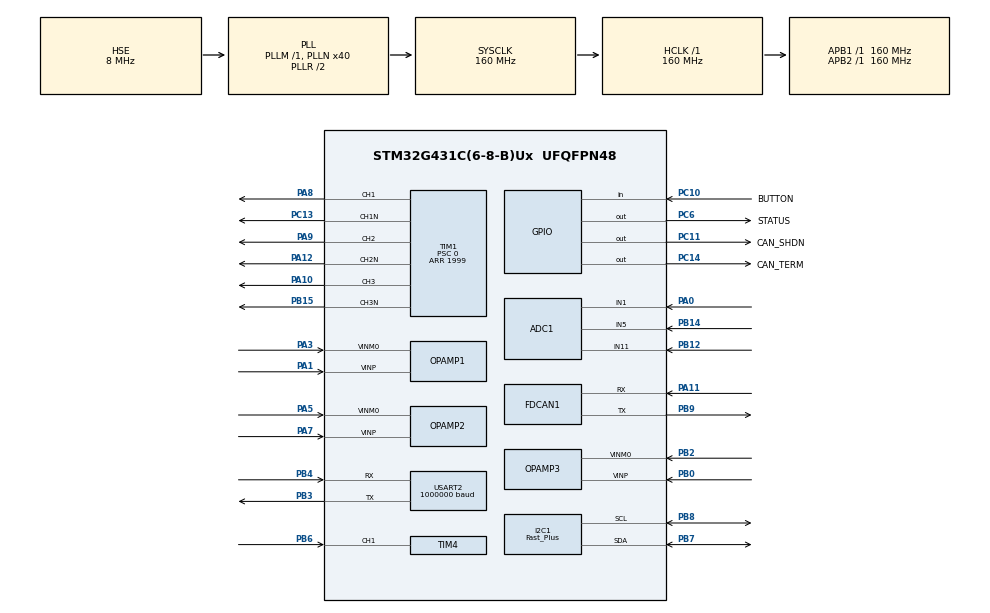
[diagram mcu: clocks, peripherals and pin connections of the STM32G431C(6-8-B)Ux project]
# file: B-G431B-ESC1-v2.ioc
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ADC1.Channel-0\#ChannelRegularConversion=ADC_CHANNEL_VOPAMP1
ADC1.Channel-1\#ChannelRegularConversion=ADC_CHANNEL_VOPAMP1
ADC1.Channel-2\#ChannelRegularConversion=ADC_CHANNEL_11
ADC1.Channel-3\#ChannelRegularConversion=ADC_CHANNEL_1
ADC1.Channel-4\#ChannelRegularConversion=ADC_CHANNEL_5
ADC1.DMAContinuousRequests=ENABLE
ADC1.EOCSelection=ADC_EOC_SEQ_CONV
ADC1.ExternalTrigConv=ADC_EXTERNALTRIG_T1_TRGO
ADC1.NbrOfConversion=5
ADC1.NbrOfConversionFlag=1
ADC1.OffsetNumber-0\#ChannelRegularConversion=ADC_OFFSET_NONE
ADC1.OffsetNumber-1\#ChannelRegularConversion=ADC_OFFSET_NONE
ADC1.OffsetNumber-2\#ChannelRegularConversion=ADC_OFFSET_NONE
ADC1.OffsetNumber-3\#ChannelRegularConversion=ADC_OFFSET_NONE
ADC1.OffsetNumber-4\#ChannelRegularConversion=ADC_OFFSET_NONE
ADC1.Overrun=ADC_OVR_DATA_OVERWRITTEN
ADC1.Rank-0\#ChannelRegularConversion=1
ADC1.Rank-1\#ChannelRegularConversion=2
ADC1.Rank-2\#ChannelRegularConversion=3
ADC1.Rank-3\#ChannelRegularConversion=4
ADC1.Rank-4\#ChannelRegularConversion=5
ADC1.SamplingTime-0\#ChannelRegularConversion=ADC_SAMPLETIME_2CYCLES_5
ADC1.SamplingTime-1\#ChannelRegularConversion=ADC_SAMPLETIME_2CYCLES_5
ADC1.SamplingTime-2\#ChannelRegularConversion=ADC_SAMPLETIME_2CYCLES_5
ADC1.SamplingTime-3\#ChannelRegularConversion=ADC_SAMPLETIME_2CYCLES_5
ADC1.SamplingTime-4\#ChannelRegularConversion=ADC_SAMPLETIME_2CYCLES_5
ADC1.master=1
ADC2.Channel-0\#ChannelRegularConversion=ADC_CHANNEL_VOPAMP2
ADC2.Channel-1\#ChannelRegularConversion=ADC_CHANNEL_VOPAMP2
ADC2.Channel-2\#ChannelRegularConversion=ADC_CHANNEL_VOPAMP3_ADC2
ADC2.DMAContinuousRequests=ENABLE
ADC2.EOCSelection=ADC_EOC_SEQ_CONV
ADC2.ExternalTrigConv=ADC_EXTERNALTRIG_T1_TRGO
ADC2.NbrOfConversion=3
ADC2.NbrOfConversionFlag=1
ADC2.OffsetNumber-0\#ChannelRegularConversion=ADC_OFFSET_NONE
ADC2.OffsetNumber-1\#ChannelRegularConversion=ADC_OFFSET_NONE
ADC2.OffsetNumber-2\#ChannelRegularConversion=ADC_OFFSET_NONE
ADC2.Overrun=ADC_OVR_DATA_OVERWRITTEN
ADC2.Rank-0\#ChannelRegularConversion=1
ADC2.Rank-1\#ChannelRegularConversion=2
ADC2.Rank-2\#ChannelRegularConversion=3
ADC2.SamplingTime-0\#ChannelRegularConversion=ADC_SAMPLETIME_2CYCLES_5
ADC2.SamplingTime-1\#ChannelRegularConversion=ADC_SAMPLETIME_2CYCLES_5
ADC2.SamplingTime-2\#ChannelRegularConversion=ADC_SAMPLETIME_2CYCLES_5
Dma.ADC1.2.Direction=DMA_PERIPH_TO_MEMORY
Dma.ADC1.2.EventEnable=DISABLE
Dma.ADC1.2.Instance=DMA1_Channel3
Dma.ADC1.2.MemDataAlignment=DMA_MDATAALIGN_HALFWORD
Dma.ADC1.2.MemInc=DMA_MINC_ENABLE
Dma.ADC1.2.Mode=DMA_CIRCULAR
Dma.ADC1.2.PeriphDataAlignment=DMA_PDATAALIGN_HALFWORD
Dma.ADC1.2.PeriphInc=DMA_PINC_DISABLE
Dma.ADC1.2.Polarity=HAL_DMAMUX_REQ_GEN_RISING
Dma.ADC1.2.Priority=DMA_PRIORITY_LOW
Dma.ADC1.2.RequestNumber=1
Dma.ADC1.2.SignalID=NONE
Dma.ADC1.2.SyncEnable=DISABLE
Dma.ADC1.2.SyncPolarity=HAL_DMAMUX_SYNC_NO_EVENT
Dma.ADC1.2.SyncRequestNumber=1
Dma.ADC1.2.SyncSignalID=NONE
Dma.ADC2.3.Direction=DMA_PERIPH_TO_MEMORY
Dma.ADC2.3.EventEnable=DISABLE
Dma.ADC2.3.Instance=DMA1_Channel4
Dma.ADC2.3.MemDataAlignment=DMA_MDATAALIGN_HALFWORD
Dma.ADC2.3.MemInc=DMA_MINC_ENABLE
Dma.ADC2.3.Mode=DMA_CIRCULAR
Dma.ADC2.3.PeriphDataAlignment=DMA_PDATAALIGN_HALFWORD
Dma.ADC2.3.PeriphInc=DMA_PINC_DISABLE
Dma.ADC2.3.Polarity=HAL_DMAMUX_REQ_GEN_RISING
Dma.ADC2.3.Priority=DMA_PRIORITY_LOW
Dma.ADC2.3.RequestNumber=1
Dma.ADC2.3.SignalID=NONE
Dma.ADC2.3.SyncEnable=DISABLE
Dma.ADC2.3.SyncPolarity=HAL_DMAMUX_SYNC_NO_EVENT
Dma.ADC2.3.SyncRequestNumber=1
Dma.ADC2.3.SyncSignalID=NONE
Dma.Request0=USART2_RX
Dma.Request1=USART2_TX
Dma.Request2=ADC1
Dma.Request3=ADC2
Dma.USART2_RX.0.Direction=DMA_PERIPH_TO_MEMORY
Dma.USART2_RX.0.EventEnable=DISABLE
Dma.USART2_RX.0.Instance=DMA1_Channel1
Dma.USART2_RX.0.MemDataAlignment=DMA_MDATAALIGN_BYTE
Dma.USART2_RX.0.MemInc=DMA_MINC_ENABLE
Dma.USART2_RX.0.Mode=DMA_CIRCULAR
Dma.USART2_RX.0.PeriphDataAlignment=DMA_PDATAALIGN_BYTE
Dma.USART2_RX.0.PeriphInc=DMA_PINC_DISABLE
Dma.USART2_RX.0.Polarity=HAL_DMAMUX_REQ_GEN_RISING
Dma.USART2_RX.0.Priority=DMA_PRIORITY_LOW
Dma.USART2_RX.0.RequestNumber=1
Dma.USART2_RX.0.SignalID=NONE
Dma.USART2_RX.0.SyncEnable=DISABLE
Dma.USART2_RX.0.SyncPolarity=HAL_DMAMUX_SYNC_NO_EVENT
Dma.USART2_RX.0.SyncRequestNumber=1
Dma.USART2_RX.0.SyncSignalID=NONE
Dma.USART2_TX.1.Direction=DMA_MEMORY_TO_PERIPH
Dma.USART2_TX.1.EventEnable=DISABLE
Dma.USART2_TX.1.Instance=DMA1_Channel2
Dma.USART2_TX.1.MemDataAlignment=DMA_MDATAALIGN_BYTE
Dma.USART2_TX.1.MemInc=DMA_MINC_ENABLE
Dma.USART2_TX.1.Mode=DMA_NORMAL
Dma.USART2_TX.1.PeriphDataAlignment=DMA_PDATAALIGN_BYTE
Dma.USART2_TX.1.PeriphInc=DMA_PINC_DISABLE
Dma.USART2_TX.1.Polarity=HAL_DMAMUX_REQ_GEN_RISING
Dma.USART2_TX.1.Priority=DMA_PRIORITY_LOW
Dma.USART2_TX.1.RequestNumber=1
Dma.USART2_TX.1.SignalID=NONE
Dma.USART2_TX.1.SyncEnable=DISABLE
Dma.USART2_TX.1.SyncPolarity=HAL_DMAMUX_SYNC_NO_EVENT
Dma.USART2_TX.1.SyncRequestNumber=1
Dma.USART2_TX.1.SyncSignalID=NONE
FDCAN1.AutoRetransmission=ENABLE
FDCAN1.ClockDivider=FDCAN_CLOCK_DIV2
FDCAN1.DataSyncJumpWidth=4
FDCAN1.DataTimeSeg1=5
FDCAN1.DataTimeSeg2=4
FDCAN1.NominalSyncJumpWidth=16
FDCAN1.NominalTimeSeg1=63
FDCAN1.NominalTimeSeg2=16
FDCAN1.StdFiltersNbr=1
FDCAN1.TransmitPause=ENABLE
I2C1.I2C_Speed_Mode=I2C_Fast_Plus
I2C1.Timing=0x00701F6B
Mcu.Family=STM32G4
Mcu.Name=STM32G431C(6-8-B)Ux
Mcu.Package=UFQFPN48
NVIC.ADC1_2_IRQn=true\:0\:0\:false\:false\:true\:true\:true\:true
NVIC.CORDIC_IRQn=true\:2\:0\:true\:false\:true\:true\:true\:true
NVIC.DMA1_Channel1_IRQn=true\:0\:0\:false\:false\:true\:false\:true\:true
NVIC.DMA1_Channel2_IRQn=true\:0\:0\:false\:false\:true\:false\:true\:true
NVIC.DMA1_Channel3_IRQn=true\:0\:0\:false\:false\:true\:false\:true\:true
NVIC.DMA1_Channel4_IRQn=true\:0\:0\:false\:false\:true\:false\:true\:true
NVIC.FDCAN1_IT0_IRQn=true\:3\:0\:true\:false\:true\:true\:true\:true
NVIC.PriorityGroup=NVIC_PRIORITYGROUP_4
NVIC.TIM4_IRQn=true\:0\:0\:true\:false\:true\:true\:true\:true
NVIC.USART2_IRQn=true\:4\:0\:true\:false\:true\:true\:true\:true
OPAMP1.PgaGain=OPAMP_PGA_GAIN_16_OR_MINUS_15
OPAMP2.PgaGain=OPAMP_PGA_GAIN_16_OR_MINUS_15
OPAMP3.PgaGain=OPAMP_PGA_GAIN_16_OR_MINUS_15
PA0.Mode=IN1-Single-Ended
PA0.Signal=ADC1_IN1
PA1.Mode=PGA Internally connected_IO0_BIAS
PA1.Signal=OPAMP1_VINP
PA10.Signal=S_TIM1_CH3
PA11.Mode=FDCAN_Activate
PA11.Signal=FDCAN1_RX
PA12.Mode=PWM Generation2 CH2 CH2N
PA12.Signal=TIM1_CH2N
PA13.Mode=Serial_Wire
PA13.Signal=SYS_JTMS-SWDIO
PA14.Mode=Serial_Wire
PA14.Signal=SYS_JTCK-SWCLK
PA3.Mode=PGA Internally connected_IO0_BIAS
PA3.Signal=OPAMP1_VINM0
PA5.Mode=PGA Internally connected_IO0_BIAS
PA5.Signal=OPAMP2_VINM0
PA7.Mode=PGA Internally connected_IO0_BIAS
PA7.Signal=OPAMP2_VINP
PA8.Signal=S_TIM1_CH1
PA9.Signal=S_TIM1_CH2
PB0.Mode=PGA Internally connected_IO0_BIAS
PB0.Signal=OPAMP3_VINP
PB12.Mode=IN11-Single-Ended
PB12.Signal=ADC1_IN11
PB14.Mode=IN5-Single-Ended
PB14.Signal=ADC1_IN5
PB15.Mode=PWM Generation3 CH3 CH3N
PB15.Signal=TIM1_CH3N
PB2.Mode=PGA Internally connected_IO0_BIAS
PB2.Signal=OPAMP3_VINM0
PB3.Mode=Asynchronous
PB3.Signal=USART2_TX
PB4.Mode=Asynchronous
PB4.Signal=USART2_RX
PB6.Signal=S_TIM4_CH1
PB7.GPIO_FM7=SYSCFG_FASTMODEPLUS_PB7
PB7.GPIO_PuPdOD=GPIO_PULLUP
PB7.GPIO_Speed=GPIO_SPEED_FREQ_VERY_HIGH
PB7.Mode=I2C
PB7.Signal=I2C1_SDA
PB8-BOOT0.GPIO_FM8=SYSCFG_FASTMODEPLUS_PB8
PB8-BOOT0.GPIO_PuPdOD=GPIO_PULLUP
PB8-BOOT0.GPIO_Speed=GPIO_SPEED_FREQ_VERY_HIGH
PB8-BOOT0.Mode=I2C
PB8-BOOT0.Signal=I2C1_SCL
PB9.Mode=FDCAN_Activate
PB9.Signal=FDCAN1_TX
PC10.GPIO_Label=BUTTON
PC10.Signal=GPIO_Input
PC11.GPIO_Label=CAN_SHDN
PC11.Signal=GPIO_Output
PC13.Mode=PWM Generation1 CH1 CH1N
PC13.Signal=TIM1_CH1N
PC14-OSC32_IN.GPIO_Label=CAN_TERM
PC14-OSC32_IN.Signal=GPIO_Output
PC6.GPIO_Label=STATUS
PC6.Signal=GPIO_Output
PF0-OSC_IN.Mode=HSE-External-Oscillator
PF0-OSC_IN.Signal=RCC_OSC_IN
PF1-OSC_OUT.Mode=HSE-External-Oscillator
PF1-OSC_OUT.Signal=RCC_OSC_OUT
ProjectManager.HeapSize=0x200
ProjectManager.StackSize=0x400
ProjectManager.TargetToolchain=STM32CubeIDE
RCC.ADC12Freq_Value=160000000
RCC.AHBFreq_Value=160000000
RCC.APB1Freq_Value=160000000
RCC.APB1TimFreq_Value=160000000
RCC.APB2Freq_Value=160000000
RCC.APB2TimFreq_Value=160000000
RCC.CortexFreq_Value=160000000
RCC.EXTERNAL_CLOCK_VALUE=12288000
RCC.HCLKFreq_Value=160000000
RCC.HSE_VALUE=8000000
RCC.HSI48_VALUE=48000000
RCC.HSI_VALUE=16000000
RCC.LSE_VALUE=32768
RCC.PLLN=40
RCC.PLLSourceVirtual=RCC_PLLSOURCE_HSE
RCC.SYSCLKFreq_VALUE=160000000
RCC.SYSCLKSource=RCC_SYSCLKSOURCE_PLLCLK
RCC.USBFreq_Value=160000000
RCC.VCOOutputFreq_Value=320000000
SH.S_TIM1_CH1.0=TIM1_CH1,PWM Generation1 CH1 CH1N
SH.S_TIM1_CH2.0=TIM1_CH2,PWM Generation2 CH2 CH2N
SH.S_TIM1_CH3.0=TIM1_CH3,PWM Generation3 CH3 CH3N
SH.S_TIM4_CH1.0=TIM4_CH1,PWM_Input_1
TIM1.Channel-PWM\ Generation1\ CH1\ CH1N=TIM_CHANNEL_1
TIM1.Channel-PWM\ Generation2\ CH2\ CH2N=TIM_CHANNEL_2
TIM1.Channel-PWM\ Generation3\ CH3\ CH3N=TIM_CHANNEL_3
TIM1.CounterMode=TIM_COUNTERMODE_CENTERALIGNED1
TIM1.DeadTime=128
TIM1.PeriodNoDither=1999
TIM1.Prescaler=0
TIM1.TIM_MasterOutputTrigger=TIM_TRGO_UPDATE
TIM4.ICPolarity_1=TIM_INPUTCHANNELPOLARITY_RISING
TIM4.Prescaler=2
TIM6.Prescaler=159
USART2.BaudRate=1000000
USART2.VirtualMode-Asynchronous=VM_ASYNC
VP_ADC1_OPAMP_INTERNAL1.Mode=IN-OPAMP1
VP_ADC2_OPAMP_INTERNAL2.Mode=IN-OPAMP2
VP_ADC2_OPAMP_INTERNAL3.Mode=IN-OPAMP3
VP_CORDIC_VS_CORDIC.Mode=CORDIC_Activate
VP_SYS_VS_DBSignals.Mode=DisableDeadBatterySignals
VP_TIM1_VS_ClockSourceINT.Mode=Internal
VP_TIM6_VS_ClockSourceINT.Mode=Enable_Timer
board=custom

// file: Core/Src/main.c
/* USER CODE BEGIN Header */
/**
 ******************************************************************************
 * @file           : main.c
 * @brief          : Main program body
 ******************************************************************************
 * @attention
 *
 * <h2><center>&copy; Copyright (c) 2021 STMicroelectronics.
 * All rights reserved.</center></h2>
 *
 * This software component is licensed by ST under BSD 3-Clause license,
 * the "License"; You may not use this file except in compliance with the
 * License. You may obtain a copy of the License at:
 *                        opensource.org/licenses/BSD-3-Clause
 *
 ******************************************************************************
 */
/* USER CODE END Header */
#include "main.h"

/* USER CODE BEGIN Includes */
#include "serial.h"
#include "position_sensor.h"
#include "foc.h"
#include "pid.h"
#include "math_tool.h"
#include "eeprom.h"
#include "protocol.h"
#include "control_table.h"
#include "binary_tool.h"

/* USER CODE END Includes */

/* USER CODE BEGIN PD */

// CAN Bus termination
#define CAN_BUS_TERMINATION_OFF
#define CAN_BUS_TERMINATION_ON

// Position sensor type :
//    "AS5600_I2C"
//    "AS5048A_PWM"
#define SENSOR_TYPE AS5600_I2C

// PID loop period in µs
//  normal setting is 1000us (1KHz)
//  performance setting is 250 (4KHz)
#define PID_LOOP_PERIOD 250

// FOC service loop period in µs
//  normal setting is 10000us (100Hz)
#define SERVICE_LOOP_PERIOD 10000

// Autocalibration at startup
//   uncomment this line for calibrating the ESC/MOTOR at startup
//   comment this line to avoid wearing EEPROM
// #define PERFORM_AUTO_CALIBRATION_AT_STARTUP

// Advanced settings (do not change)
#define ALPHA_VELOCITY 0.24f // (default:0.24) F = 1000Hz ==> Fc (-3dB) = 20Hz

/* USER CODE END PD */

ADC_HandleTypeDef hadc1;
ADC_HandleTypeDef hadc2;
DMA_HandleTypeDef hdma_adc1;
DMA_HandleTypeDef hdma_adc2;

CORDIC_HandleTypeDef hcordic;

FDCAN_HandleTypeDef hfdcan1;

I2C_HandleTypeDef hi2c1;

OPAMP_HandleTypeDef hopamp1;
OPAMP_HandleTypeDef hopamp2;
OPAMP_HandleTypeDef hopamp3;

TIM_HandleTypeDef htim1;
TIM_HandleTypeDef htim4;
TIM_HandleTypeDef htim6;

UART_HandleTypeDef huart2;
DMA_HandleTypeDef hdma_usart2_rx;
DMA_HandleTypeDef hdma_usart2_tx;

/* USER CODE BEGIN PV */

// float setpoint_torque_current_mA = 0.0f;
// float setpoint_flux_current_mA = 0.0f;
// extern float potentiometer_input_adc;

// serial communication
HAL_Serial_Handler serial;

// CAN communication, state and fail-safe
static FDCAN_RxHeaderTypeDef RxHeader;
static uint8_t RxData[8];
static FDCAN_TxHeaderTypeDef TxHeader;
static uint8_t TxData[8];
bool can_armed = false;
uint32_t can_last_time = 0;

/* USER CODE END PV */

void SystemClock_Config(void);
static void MX_GPIO_Init(void);
static void MX_DMA_Init(void);
static void MX_TIM4_Init(void);
static void MX_USART2_UART_Init(void);
static void MX_TIM1_Init(void);
static void MX_ADC1_Init(void);
static void MX_ADC2_Init(void);
static void MX_OPAMP1_Init(void);
static void MX_OPAMP2_Init(void);
static void MX_OPAMP3_Init(void);
static void MX_CORDIC_Init(void);
static void MX_TIM6_Init(void);
static void MX_FDCAN1_Init(void);
static void MX_I2C1_Init(void);

/* USER CODE BEGIN 0 */

// PWM input capture IT for AS5048A position sensor
void HAL_TIM_IC_CaptureCallback(TIM_HandleTypeDef *htim) __attribute__((section(".ccmram")));

void HAL_TIM_IC_CaptureCallback(TIM_HandleTypeDef *htim)
{
    if (positionSensor_getType() == AS5048A_PWM)
    {
        API_AS5048A_Position_Sensor_It(htim);
    }
}

// CAN configuration (filters)
static void FDCAN_Config(void)
{
    FDCAN_FilterTypeDef sFilterConfig;

    /* Configure Rx filter */
    sFilterConfig.IdType = FDCAN_STANDARD_ID;
    sFilterConfig.FilterIndex = 0;
    sFilterConfig.FilterType = FDCAN_FILTER_RANGE;
    sFilterConfig.FilterConfig = FDCAN_FILTER_TO_RXFIFO0;
    sFilterConfig.FilterID1 = 0x000;
    sFilterConfig.FilterID2 = 0x100;
    if (HAL_FDCAN_ConfigFilter(&hfdcan1, &sFilterConfig) != HAL_OK)
    {
        Error_Handler();
    }

    /* Configure global filter:
       Filter all remote frames with STD and EXT ID
       Reject non matching frames with STD ID and EXT ID */
    if (HAL_FDCAN_ConfigGlobalFilter(&hfdcan1, FDCAN_REJECT, FDCAN_REJECT, FDCAN_FILTER_REMOTE, FDCAN_FILTER_REMOTE) != HAL_OK)
    {
        Error_Handler();
    }

    HAL_GPIO_WritePin(CAN_SHDN_GPIO_Port, CAN_SHDN_Pin, GPIO_PIN_RESET);
#ifdef CAN_BUS_TERMINATION_ON
    HAL_GPIO_WritePin(CAN_TERM_GPIO_Port, CAN_TERM_Pin, GPIO_PIN_SET); // SET means activating R120 for CAN bus termination
#else
    HAL_GPIO_WritePin(CAN_TERM_GPIO_Port, CAN_TERM_Pin, GPIO_PIN_RESET); // RESET means no bus termination
#endif

    /* Start the FDCAN module */
    if (HAL_FDCAN_Start(&hfdcan1) != HAL_OK)
    {
        Error_Handler();
    }

    if (HAL_FDCAN_ActivateNotification(&hfdcan1, FDCAN_IT_RX_FIFO0_NEW_MESSAGE, 0) != HAL_OK)
    {
        Error_Handler();
    }

    /* Prepare Tx Header */
    TxHeader.Identifier = 0;
    TxHeader.IdType = FDCAN_STANDARD_ID;
    TxHeader.TxFrameType = FDCAN_DATA_FRAME;
    TxHeader.DataLength = FDCAN_DLC_BYTES_8;
    TxHeader.ErrorStateIndicator = FDCAN_ESI_ACTIVE;
    TxHeader.BitRateSwitch = FDCAN_BRS_OFF;
    TxHeader.FDFormat = FDCAN_CLASSIC_CAN;
    TxHeader.TxEventFifoControl = FDCAN_NO_TX_EVENTS;
    TxHeader.MessageMarker = 0;
}

// CAN IT on message receive
void HAL_FDCAN_RxFifo0Callback(FDCAN_HandleTypeDef *hfdcan, uint32_t RxFifo0ITs)
{
    if ((RxFifo0ITs & FDCAN_IT_RX_FIFO0_NEW_MESSAGE) != 0)
    {
        // Handle CAN communication
        while (HAL_FDCAN_GetRxFifoFillLevel(&hfdcan1, FDCAN_RX_FIFO0) != 0)

            /* Retrieve Rx messages from RX FIFO0 */
            if (HAL_FDCAN_GetRxMessage(hfdcan, FDCAN_RX_FIFO0, &RxHeader, RxData) == HAL_OK)
            {
                // decode message ID=0x000+ID
                if (RxHeader.Identifier == regs[REG_ID]) // message from host controller
                {
                    // can watchdog re-arm
                    if (can_armed)
                    {
                        can_last_time = HAL_GetTick();
                    }
                    uint32_t payload_length = RxHeader.DataLength >> 16U;
                    // check payload size = 8
                    if (can_armed && payload_length == 2) // Feed Forward Torque only
                    {
                        // TODO Frist BYTE is CODE OP : 0:Torque, 1:VEL 2:POS  N:Is Write M:is Read FF is start of enable

                        // decode payload filed
                        regs[REG_GOAL_TORQUE_CURRENT_MA_L] = RxData[0];
                        regs[REG_GOAL_TORQUE_CURRENT_MA_H] = RxData[1];
                        // HAL_Serial_Print(&serial,"CAN (2)\n");
                    }
                    else if (can_armed && payload_length == 3) // Speed, VEL Kp
                    {
                        // decode payload filed
                        regs[REG_GOAL_VELOCITY_DPS_L] = RxData[0];
                        regs[REG_GOAL_VELOCITY_DPS_H] = RxData[1];
                        regs[REG_GOAL_VEL_KP] = RxData[4];
                        // HAL_Serial_Print(&serial,"CAN (3)\n");
                    }
                    else if (can_armed && payload_length == 5) // Position, POS Kp and Kd, VEL Kp
                    {
                        // decode payload filed
                        regs[REG_GOAL_POSITION_DEG_L] = RxData[0];
                        regs[REG_GOAL_POSITION_DEG_H] = RxData[1];
                        regs[REG_GOAL_POS_KP] = RxData[3];
                        regs[REG_GOAL_POS_KD] = RxData[4];
                        regs[REG_GOAL_VEL_KP] = RxData[5];
                        // HAL_Serial_Print(&serial,"CAN (5)\n");
                    }
                    else if (payload_length == 8) // position, speed, and torque feed forward, Kp/kd update
                    {
                        if ((RxData[0] == 0xFF) && (RxData[1] == 0xFF) && (RxData[2] == 0xFF) && (RxData[3] == 0xFF) &&
                            (RxData[4] == 0xFF) && (RxData[5] == 0xFF) && (RxData[6] == 0xFF) && (RxData[7] == 0xFF))
                        {
                            // init watch dog
                            can_armed = true;
                            can_last_time = HAL_GetTick();
                            regs[REG_TORQUE_ENABLE] = 1;
                            regs[REG_GOAL_POSITION_DEG_L] = 0;
                            regs[REG_GOAL_POSITION_DEG_H] = 0;
                            regs[REG_GOAL_VELOCITY_DPS_L] = 0;
                            regs[REG_GOAL_VELOCITY_DPS_H] = 0;
                            regs[REG_GOAL_TORQUE_CURRENT_MA_L] = 0;
                            regs[REG_GOAL_TORQUE_CURRENT_MA_H] = 0;
                            regs[REG_GOAL_POS_KP] = 0;
                            regs[REG_GOAL_POS_KD] = 0;
                            regs[REG_GOAL_VEL_KP] = 0;
                            // HAL_Serial_Print(&serial,"CAN request ARM\n");
                        }
                        else if (can_armed)
                        {
                            // replace by access read/write to register !

                            // decode payload filed
                            regs[REG_GOAL_POSITION_DEG_L] = RxData[0];
                            regs[REG_GOAL_POSITION_DEG_H] = RxData[1];
                            regs[REG_GOAL_VELOCITY_DPS_L] = RxData[2];
                            regs[REG_GOAL_VELOCITY_DPS_H] = RxData[3];
                            regs[REG_GOAL_TORQUE_CURRENT_MA_L] = RxData[4];
                            regs[REG_GOAL_TORQUE_CURRENT_MA_H] = RxData[5];
                            regs[REG_GOAL_POS_KP] = RxData[6];
                            regs[REG_GOAL_POS_KD] = RxData[7];
                            regs[REG_GOAL_VEL_KP] = RxData[7];
                            // HAL_Serial_Print(&serial,"CAN (8)\n");
                        }
                    }

                    // then reply by a status frame (shortened)
                    TxHeader.Identifier = 0x10 + regs[REG_ID]; // each ESC replies with a message identifier = it is own ID
                    TxHeader.DataLength = FDCAN_DLC_BYTES_4;
                    TxData[0] = regs[REG_PRESENT_POSITION_DEG_L];
                    TxData[1] = regs[REG_PRESENT_POSITION_DEG_H];
                    TxData[2] = regs[REG_PRESENT_TORQUE_CURRENT_MA_L];
                    TxData[3] = regs[REG_PRESENT_TORQUE_CURRENT_MA_H];
                    // TxData[4] = regs[REG_HARDWARE_ERROR_STATUS];
                    // TxData[5] = regs[REG_PRESENT_VOLTAGE];
                    // TxData[6] = regs[REG_PRESENT_TEMPERATURE];
                    // TxData[7] = ....
                    HAL_FDCAN_AddMessageToTxFifoQ(&hfdcan1, &TxHeader, TxData);
                }
            }
    }
}

/* USER CODE END 0 */

int main(void)
{

    /* MCU Configuration--------------------------------------------------------*/

    /* Reset of all peripherals, Initializes the Flash interface and the Systick. */
    HAL_Init();

    /* Configure the system clock */
    SystemClock_Config();

    /* Initialize all configured peripherals */
    MX_GPIO_Init();
    MX_DMA_Init();
    MX_TIM4_Init();
    MX_USART2_UART_Init();
    MX_TIM1_Init();
    MX_ADC1_Init();
    MX_ADC2_Init();
    MX_OPAMP1_Init();
    MX_OPAMP2_Init();
    MX_OPAMP3_Init();
    MX_CORDIC_Init();
    MX_TIM6_Init();
    MX_FDCAN1_Init();
    MX_I2C1_Init();
    /* USER CODE BEGIN 2 */
    HAL_TIM_Base_Start(&htim6); // 1us base time
    API_FOC_Init();

    if (eeprom_empty())
        factory_reset_eeprom_regs();
    load_eeprom_regs();
    reset_ram_regs();
    FDCAN_Config();
    positionSensor_init(SENSOR_TYPE);
    positionSensor_update();
    API_FOC_Service_Update();
#ifdef PERFORM_AUTO_CALIBRATION_AT_STARTUP
    API_FOC_Calibrate();
#endif
    HAL_Serial_Init(&huart2, &serial);
    // HAL_Serial_Print(&serial,"RESET!\n");

    /* USER CODE END 2 */

    /* Infinite loop */
    /* USER CODE BEGIN WHILE */
    bool torque_was_enable = false;
    uint16_t present_time_us = __HAL_TIM_GET_COUNTER(&htim6);
    uint16_t pid_last_time_us = present_time_us;
    uint16_t service_last_time_us = present_time_us;
    float setpoint_position_deg = 0.0f;
    float setpoint_velocity_dps = 0.0f;
    float setpoint_torque_current_mA = 0.0f;
    float setpoint_flux_current_mA = 0.0f;
    float error_velocity_dps = 0.0f;
    uint32_t pid_counter = 0;
    uint32_t mlp_counter = 0;
    pid_context_t pd_position;
    while (1)
    {
        /* USER CODE END WHILE */

        /* USER CODE BEGIN 3 */

        // hardware error clears torque enable register and disable FOC torque controller
        if (regs[REG_HARDWARE_ERROR_STATUS] != 0)
        {
            // disable torque
            regs[REG_TORQUE_ENABLE] = 0;
            // disable FOC
            API_FOC_Torque_Disable();
            // disarm CAN
            can_armed = false;
        }

        // CAN bus time-out
        // CAN bus watchdog (time-out = 1s hard-coded)
        if (can_armed && (HAL_GetTick() > can_last_time + 1000))
        {
            // disable torque
            regs[REG_TORQUE_ENABLE] = 0;
            // disable FOC
            API_FOC_Torque_Disable();
            // disarm CAN
            can_armed = false;
        }

        // FOC process time-out
        // FOC watchdog (time-out = 10ms hard-coded)
        if (HAL_GetTick() > API_FOC_Get_Timestamp_ms() + 10)
        {
            // error
            regs[REG_HARDWARE_ERROR_STATUS] |= (1 << HW_ERROR_BIT_FOC_TIMEOUT);
            // disable torque
            regs[REG_TORQUE_ENABLE] = 0;
            // disable FOC
            API_FOC_Torque_Disable();
            // disarm CAN
            can_armed = false;
        }

        // 1 to 4Khz low priority process
        present_time_us = __HAL_TIM_GET_COUNTER(&htim6);
        uint16_t const pid_delta_time_us = present_time_us - pid_last_time_us;
        if (pid_delta_time_us >= PID_LOOP_PERIOD)
        {
            pid_last_time_us += PID_LOOP_PERIOD;
            ++pid_counter;

            // update sensor
            positionSensor_update();

            if (regs[REG_TORQUE_ENABLE])
            {
                // transition from torque disable to enable
                if (!torque_was_enable)
                {
                    torque_was_enable = true;
                    // set goal position to present position to avoid mechanical glicth
                    regs[REG_GOAL_POSITION_DEG_L] = LOW_BYTE((int16_t)(10.0f * positionSensor_getDegreeMultiturn()));
                    regs[REG_GOAL_POSITION_DEG_H] = HIGH_BYTE((int16_t)(10.0f * positionSensor_getDegreeMultiturn()));
                    // reset goal velocity
                    regs[REG_GOAL_VELOCITY_DPS_L] = 0;
                    regs[REG_GOAL_VELOCITY_DPS_H] = 0;
                    // reset feed-forward torque
                    regs[REG_GOAL_TORQUE_CURRENT_MA_L] = 0;
                    regs[REG_GOAL_TORQUE_CURRENT_MA_H] = 0;
                    // reset flux refenrece
                    regs[REG_GOAL_FLUX_CURRENT_MA_L] = 0;
                    regs[REG_GOAL_FLUX_CURRENT_MA_H] = 0;
                    // reset K
                    regs[REG_GOAL_POS_KP] = 0;
                    regs[REG_GOAL_POS_KD] = 0;
                    regs[REG_GOAL_VEL_KP] = 0;
                    // reset setpoints
                    setpoint_position_deg = 0.0f;
                    setpoint_velocity_dps = 0.0f;
                    error_velocity_dps = 0.0f;
                    // set setpoint_position_deg to avoid glitch
                    setpoint_position_deg = positionSensor_getDegreeMultiturn();
                    // pid reset
                    pid_reset(&pd_position);
                    // foc
                    API_FOC_Torque_Enable();
                }

                // compute position set-point from goal and EEPROM position limits
                float const goal_position_deg = (float)((int16_t)(MAKE_SHORT(regs[REG_GOAL_POSITION_DEG_L], regs[REG_GOAL_POSITION_DEG_H]))) / 10.0f;
                float const reg_min_position_deg = (float)((int16_t)(MAKE_SHORT(regs[REG_MIN_POSITION_DEG_L], regs[REG_MIN_POSITION_DEG_H])));
                float const reg_max_position_deg = (float)((int16_t)(MAKE_SHORT(regs[REG_MAX_POSITION_DEG_L], regs[REG_MAX_POSITION_DEG_H])));
                setpoint_position_deg = fconstrain(goal_position_deg, reg_min_position_deg, reg_max_position_deg);
                // compute velocity setpoint from goal and EEPROM velocity limit
                float const goal_velocity_dps = (int16_t)(MAKE_SHORT(regs[REG_GOAL_VELOCITY_DPS_L], regs[REG_GOAL_VELOCITY_DPS_H]));
                float const reg_max_velocity_dps = (int16_t)(MAKE_SHORT(regs[REG_MAX_VELOCITY_DPS_L], regs[REG_MAX_VELOCITY_DPS_H]));
                setpoint_velocity_dps = fconstrain(goal_velocity_dps, -reg_max_velocity_dps, reg_max_velocity_dps);
                // compute torque feed forward
                float const torque_feed_forward_ma = (int16_t)(MAKE_SHORT(regs[REG_GOAL_TORQUE_CURRENT_MA_L], regs[REG_GOAL_TORQUE_CURRENT_MA_H]));
                // compute torque setpoint
                float const error_position_deg = setpoint_position_deg - positionSensor_getDegreeMultiturn();
                float const pos_kp = (float)regs[REG_GOAL_POS_KP];
                float const pos_kd = (float)regs[REG_GOAL_POS_KD] * 100.0f;
                float const reg_max_current_ma = (uint16_t)(MAKE_SHORT(regs[REG_MAX_CURRENT_MA_L], regs[REG_MAX_CURRENT_MA_H]));
                float const vel_kp = (float)regs[REG_GOAL_VEL_KP] / 10.0f;
                error_velocity_dps = ALPHA_VELOCITY * (setpoint_velocity_dps - positionSensor_getVelocityDegree()) + (1.0f - ALPHA_VELOCITY) * error_velocity_dps;
                float const reg_reverse = regs[REG_INV_PHASE_MOTOR] == 0 ? 1.0f : -1.0f;
                setpoint_torque_current_mA = reg_reverse * pid_process_antiwindup_clamp_with_ff(
                                                               &pd_position,
                                                               error_position_deg,
                                                               pos_kp,
                                                               0.0f,
                                                               pos_kd,
                                                               reg_max_current_ma,
                                                               0.1f,
                                                               vel_kp * error_velocity_dps + torque_feed_forward_ma);
                // setpoint_torque_current_mA=(potentiometer_input_adc/4096)*3000.0f; // DEBUG
                //  set flux
                float const goal_flux_current_mA = (int16_t)(MAKE_SHORT(regs[REG_GOAL_FLUX_CURRENT_MA_L], regs[REG_GOAL_FLUX_CURRENT_MA_H]));
                setpoint_flux_current_mA = goal_flux_current_mA;

                // update FOC parameters
                API_FOC_Set_Torque_Flux_Currents_mA(setpoint_torque_current_mA, setpoint_flux_current_mA);
            }
            else // torque disable
            {
                // transition from enable to disable
                if (torque_was_enable)
                {
                    torque_was_enable = false;
                    // disable FOC
                    API_FOC_Torque_Disable();
                }

                // reset unused RAM
                regs[REG_GOAL_POSITION_DEG_L] = 0;
                regs[REG_GOAL_POSITION_DEG_H] = 0;
                regs[REG_GOAL_VELOCITY_DPS_L] = 0;
                regs[REG_GOAL_VELOCITY_DPS_H] = 0;
                regs[REG_GOAL_TORQUE_CURRENT_MA_L] = 0;
                regs[REG_GOAL_TORQUE_CURRENT_MA_H] = 0;
                regs[REG_GOAL_FLUX_CURRENT_MA_L] = 0;
                regs[REG_GOAL_FLUX_CURRENT_MA_H] = 0;
                regs[REG_GOAL_POS_KP] = 0;
                regs[REG_GOAL_POS_KD] = 0;
                regs[REG_GOAL_VEL_KP] = 0;

                // reset all setpoints
                setpoint_position_deg = 0.0f;
                setpoint_velocity_dps = 0.0f;
                error_velocity_dps = 0.0f;

                setpoint_torque_current_mA = 0.0f;
                setpoint_flux_current_mA = 0.0f;
            }

            // RAM Update
            regs[REG_PRESENT_POSITION_DEG_L] = LOW_BYTE((int16_t)(positionSensor_getDegreeMultiturn() * 10.0f));
            regs[REG_PRESENT_POSITION_DEG_H] = HIGH_BYTE((int16_t)(positionSensor_getDegreeMultiturn() * 10.0f));
            regs[REG_PRESENT_VELOCITY_DPS_L] = LOW_BYTE((int16_t)(positionSensor_getVelocityDegree() * 1.0f));
            regs[REG_PRESENT_VELOCITY_DPS_H] = HIGH_BYTE((int16_t)(positionSensor_getVelocityDegree() * 1.0f));
            regs[REG_PRESENT_TORQUE_CURRENT_MA_L] = LOW_BYTE((int16_t)(API_FOC_Get_Present_Torque_Current() * 1.0f));
            regs[REG_PRESENT_TORQUE_CURRENT_MA_H] = HIGH_BYTE((int16_t)(API_FOC_Get_Present_Torque_Current() * 1.0f));
            regs[REG_PRESENT_FLUX_CURRENT_MA_L] = LOW_BYTE((int16_t)(API_FOC_Get_Present_Flux_Current() * 1.0f));
            regs[REG_PRESENT_FLUX_CURRENT_MA_H] = HIGH_BYTE((int16_t)(API_FOC_Get_Present_Flux_Current() * 1.0f));
            regs[REG_PRESENT_VOLTAGE] = (uint16_t)(API_FOC_Get_Present_Voltage());
            regs[REG_PRESENT_TEMPERATURE] = (uint16_t)(API_FOC_Get_Present_Temp());
            regs[REG_MOVING] = (uint16_t)(fabsf(positionSensor_getVelocityDegree())) > (uint16_t)(regs[REG_MOVING_THRESHOLD_DPS]) ? 1 : 0;

            // DEBUG RAM Update
            regs[REG_SETPOINT_POSITION_DEG_L] = LOW_BYTE((int16_t)(setpoint_position_deg * 10.0f));
            regs[REG_SETPOINT_POSITION_DEG_H] = HIGH_BYTE((int16_t)(setpoint_position_deg * 10.0f));
            regs[REG_SETPOINT_VELOCITY_DPS_L] = LOW_BYTE((int16_t)(setpoint_velocity_dps * 1.0f));
            regs[REG_SETPOINT_VELOCITY_DPS_H] = HIGH_BYTE((int16_t)(setpoint_velocity_dps * 1.0f));
            regs[REG_SETPOINT_TORQUE_CURRENT_MA_L] = LOW_BYTE((int16_t)(setpoint_torque_current_mA * 1.0f));
            regs[REG_SETPOINT_TORQUE_CURRENT_MA_H] = HIGH_BYTE((int16_t)(setpoint_torque_current_mA * 1.0f));
            regs[REG_SETPOINT_FLUX_CURRENT_MA_L] = LOW_BYTE((int16_t)(setpoint_flux_current_mA * 1.0f));
            regs[REG_SETPOINT_FLUX_CURRENT_MA_H] = HIGH_BYTE((int16_t)(setpoint_flux_current_mA * 1.0f));
            // test new FW
            regs[REG_PROCESSING_TIME] = (uint8_t)(API_FOC_Get_Processing_Time());
            regs[REG_FOC_FREQUENCY] = (uint8_t)(API_FOC_Get_Processing_Frequency() / 1000.0f);
            regs[REG_PID_FREQUENCY] = (uint8_t)((float)pid_counter / (float)HAL_GetTick());
            regs[REG_MLP_FREQUENCY] = (uint8_t)((float)mlp_counter / (float)HAL_GetTick());

        } // low priority process 4Khz

        // low priority low frequency
        uint16_t const service_delta_time_us = present_time_us - service_last_time_us;
        if (service_delta_time_us >= SERVICE_LOOP_PERIOD)
        {
            service_last_time_us += SERVICE_LOOP_PERIOD;

            // FOC service update
            API_FOC_Service_Update();

            // Handle local MMI
            // Led STATUS
            HAL_GPIO_WritePin(STATUS_GPIO_Port, STATUS_Pin, (regs[REG_LED] > 0) || (regs[REG_HARDWARE_ERROR_STATUS] > 0) ? GPIO_PIN_SET : GPIO_PIN_RESET);

            // DEBUG
            //			if(potentiometer_input_adc>200)
            //				regs[REG_TORQUE_ENABLE] = 1;
            //			else
            //				regs[REG_TORQUE_ENABLE] = 0;

            // Pressing the button starts calibration
            if (HAL_GPIO_ReadPin(BUTTON_GPIO_Port, BUTTON_Pin) == GPIO_PIN_RESET)
            {
                // disable torque
                regs[REG_TORQUE_ENABLE] = 0;
                // disable FOC
                API_FOC_Torque_Disable();
                // disarm CAN
                can_armed = false;
                // start FOC calibration
                API_FOC_Calibrate();
            }

            // Handle serial communication
            while (HAL_Serial_Available(&serial))
            {
                char c = HAL_Serial_GetChar(&serial);
                packet_handler(c);
            }
        } // low priority process very low frequency

        // PERFORMANCE
        // uint16_t t_end = __HAL_TIM_GET_COUNTER(&htim6);
        ++mlp_counter;

        // TRACE
        static uint32_t counter = 0;
        if (((++counter) % 100) == 0)
        {
            //			HAL_Serial_Print(&serial,"%d %d\n",
            //						//(int)(RADIANS_TO_DEGREES(positionSensor_getRadians())*10.0f),
            //						(int)(init_error_data_bits),
            //						(int)(RADIANS_TO_DEGREES(present_position_rad)*10.0f)
            //						//(int)(RADIANS_TO_DEGREES(expected_position)*10.0f)
            //						//(int)(RADIANS_TO_DEGREES(present_velocity_rad)*0.1f)
            //						//(int)(RADIANS_TO_DEGREES(theta_rad)*10.0f)
            //						//(int)(RADIANS_TO_DEGREES(absolute_position_rad)*10.0f)
            //						//regs[REG_PROTOCOL_CRC_FAIL]
            //						//(int)(RADIANS_TO_DEGREES(API_AS5048A_Position_Sensor_Get_RPS())*10.0f)
            //						//(int)positionSensor_getDeltaTimeEstimation()
            //					);

            //			HAL_Serial_Print(&serial,"%d %d %d\n",
            //						(int)(setpoint_torque_current_mA),
            //						(int)(API_FOC_Get_Present_Torque_Current()),
            //						(int)(API_FOC_Get_Present_Flux_Current())
            //					);

            //			HAL_Serial_Print(&serial,"%d\n",
            //			(int)API_AS5048A_Position_Sensor_Get_DeltaTimestamp()
            //			);
        }
    }
    /* USER CODE END 3 */
}

void SystemClock_Config(void)
{
    RCC_OscInitTypeDef RCC_OscInitStruct = {0};
    RCC_ClkInitTypeDef RCC_ClkInitStruct = {0};
    RCC_PeriphCLKInitTypeDef PeriphClkInit = {0};

    /** Configure the main internal regulator output voltage
     */
    HAL_PWREx_ControlVoltageScaling(PWR_REGULATOR_VOLTAGE_SCALE1_BOOST);
    /** Initializes the RCC Oscillators according to the specified parameters
     * in the RCC_OscInitTypeDef structure.
     */
    RCC_OscInitStruct.OscillatorType = RCC_OSCILLATORTYPE_HSE;
    RCC_OscInitStruct.HSEState = RCC_HSE_ON;
    RCC_OscInitStruct.PLL.PLLState = RCC_PLL_ON;
    RCC_OscInitStruct.PLL.PLLSource = RCC_PLLSOURCE_HSE;
    RCC_OscInitStruct.PLL.PLLM = RCC_PLLM_DIV1;
    RCC_OscInitStruct.PLL.PLLN = 40;
    RCC_OscInitStruct.PLL.PLLP = RCC_PLLP_DIV2;
    RCC_OscInitStruct.PLL.PLLQ = RCC_PLLQ_DIV2;
    RCC_OscInitStruct.PLL.PLLR = RCC_PLLR_DIV2;
    if (HAL_RCC_OscConfig(&RCC_OscInitStruct) != HAL_OK)
    {
        Error_Handler();
    }
    /** Initializes the CPU, AHB and APB buses clocks
     */
    RCC_ClkInitStruct.ClockType = RCC_CLOCKTYPE_HCLK | RCC_CLOCKTYPE_SYSCLK | RCC_CLOCKTYPE_PCLK1 | RCC_CLOCKTYPE_PCLK2;
    RCC_ClkInitStruct.SYSCLKSource = RCC_SYSCLKSOURCE_PLLCLK;
    RCC_ClkInitStruct.AHBCLKDivider = RCC_SYSCLK_DIV1;
    RCC_ClkInitStruct.APB1CLKDivider = RCC_HCLK_DIV1;
    RCC_ClkInitStruct.APB2CLKDivider = RCC_HCLK_DIV1;

    if (HAL_RCC_ClockConfig(&RCC_ClkInitStruct, FLASH_LATENCY_4) != HAL_OK)
    {
        Error_Handler();
    }
    /** Initializes the peripherals clocks
     */
    PeriphClkInit.PeriphClockSelection = RCC_PERIPHCLK_USART2 | RCC_PERIPHCLK_I2C1 | RCC_PERIPHCLK_ADC12 | RCC_PERIPHCLK_FDCAN;
    PeriphClkInit.Usart2ClockSelection = RCC_USART2CLKSOURCE_PCLK1;
    PeriphClkInit.I2c1ClockSelection = RCC_I2C1CLKSOURCE_PCLK1;
    PeriphClkInit.FdcanClockSelection = RCC_FDCANCLKSOURCE_PCLK1;
    PeriphClkInit.Adc12ClockSelection = RCC_ADC12CLKSOURCE_SYSCLK;
    if (HAL_RCCEx_PeriphCLKConfig(&PeriphClkInit) != HAL_OK)
    {
        Error_Handler();
    }
}

static void MX_ADC1_Init(void)
{

    ADC_MultiModeTypeDef multimode = {0};
    ADC_ChannelConfTypeDef sConfig = {0};

    /** Common config
     */
    hadc1.Instance = ADC1;
    hadc1.Init.ClockPrescaler = ADC_CLOCK_SYNC_PCLK_DIV4;
    hadc1.Init.Resolution = ADC_RESOLUTION_12B;
    hadc1.Init.DataAlign = ADC_DATAALIGN_RIGHT;
    hadc1.Init.GainCompensation = 0;
    hadc1.Init.ScanConvMode = ADC_SCAN_ENABLE;
    hadc1.Init.EOCSelection = ADC_EOC_SEQ_CONV;
    hadc1.Init.LowPowerAutoWait = DISABLE;
    hadc1.Init.ContinuousConvMode = DISABLE;
    hadc1.Init.NbrOfConversion = 5;
    hadc1.Init.DiscontinuousConvMode = DISABLE;
    hadc1.Init.ExternalTrigConv = ADC_EXTERNALTRIG_T1_TRGO;
    hadc1.Init.ExternalTrigConvEdge = ADC_EXTERNALTRIGCONVEDGE_RISING;
    hadc1.Init.DMAContinuousRequests = ENABLE;
    hadc1.Init.Overrun = ADC_OVR_DATA_OVERWRITTEN;
    hadc1.Init.OversamplingMode = DISABLE;
    if (HAL_ADC_Init(&hadc1) != HAL_OK)
    {
        Error_Handler();
    }
    /** Configure the ADC multi-mode
     */
    multimode.Mode = ADC_MODE_INDEPENDENT;
    if (HAL_ADCEx_MultiModeConfigChannel(&hadc1, &multimode) != HAL_OK)
    {
        Error_Handler();
    }
    /** Configure Regular Channel
     */
    sConfig.Channel = ADC_CHANNEL_VOPAMP1;
    sConfig.Rank = ADC_REGULAR_RANK_1;
    sConfig.SamplingTime = ADC_SAMPLETIME_2CYCLES_5;
    sConfig.SingleDiff = ADC_SINGLE_ENDED;
    sConfig.OffsetNumber = ADC_OFFSET_NONE;
    sConfig.Offset = 0;
    if (HAL_ADC_ConfigChannel(&hadc1, &sConfig) != HAL_OK)
    {
        Error_Handler();
    }
    /** Configure Regular Channel
     */
    sConfig.Rank = ADC_REGULAR_RANK_2;
    if (HAL_ADC_ConfigChannel(&hadc1, &sConfig) != HAL_OK)
    {
        Error_Handler();
    }
    /** Configure Regular Channel
     */
    sConfig.Channel = ADC_CHANNEL_11;
    sConfig.Rank = ADC_REGULAR_RANK_3;
    if (HAL_ADC_ConfigChannel(&hadc1, &sConfig) != HAL_OK)
    {
        Error_Handler();
    }
    /** Configure Regular Channel
     */
    sConfig.Channel = ADC_CHANNEL_1;
    sConfig.Rank = ADC_REGULAR_RANK_4;
    if (HAL_ADC_ConfigChannel(&hadc1, &sConfig) != HAL_OK)
    {
        Error_Handler();
    }
    /** Configure Regular Channel
     */
    sConfig.Channel = ADC_CHANNEL_5;
    sConfig.Rank = ADC_REGULAR_RANK_5;
    if (HAL_ADC_ConfigChannel(&hadc1, &sConfig) != HAL_OK)
    {
        Error_Handler();
    }
}

static void MX_ADC2_Init(void)
{

    ADC_ChannelConfTypeDef sConfig = {0};

    /** Common config
     */
    hadc2.Instance = ADC2;
    hadc2.Init.ClockPrescaler = ADC_CLOCK_SYNC_PCLK_DIV4;
    hadc2.Init.Resolution = ADC_RESOLUTION_12B;
    hadc2.Init.DataAlign = ADC_DATAALIGN_RIGHT;
    hadc2.Init.GainCompensation = 0;
    hadc2.Init.ScanConvMode = ADC_SCAN_ENABLE;
    hadc2.Init.EOCSelection = ADC_EOC_SEQ_CONV;
    hadc2.Init.LowPowerAutoWait = DISABLE;
    hadc2.Init.ContinuousConvMode = DISABLE;
    hadc2.Init.NbrOfConversion = 3;
    hadc2.Init.DiscontinuousConvMode = DISABLE;
    hadc2.Init.ExternalTrigConv = ADC_EXTERNALTRIG_T1_TRGO;
    hadc2.Init.ExternalTrigConvEdge = ADC_EXTERNALTRIGCONVEDGE_RISING;
    hadc2.Init.DMAContinuousRequests = ENABLE;
    hadc2.Init.Overrun = ADC_OVR_DATA_OVERWRITTEN;
    hadc2.Init.OversamplingMode = DISABLE;
    if (HAL_ADC_Init(&hadc2) != HAL_OK)
    {
        Error_Handler();
    }
    /** Configure Regular Channel
     */
    sConfig.Channel = ADC_CHANNEL_VOPAMP2;
    sConfig.Rank = ADC_REGULAR_RANK_1;
    sConfig.SamplingTime = ADC_SAMPLETIME_2CYCLES_5;
    sConfig.SingleDiff = ADC_SINGLE_ENDED;
    sConfig.OffsetNumber = ADC_OFFSET_NONE;
    sConfig.Offset = 0;
    if (HAL_ADC_ConfigChannel(&hadc2, &sConfig) != HAL_OK)
    {
        Error_Handler();
    }
    /** Configure Regular Channel
     */
    sConfig.Rank = ADC_REGULAR_RANK_2;
    if (HAL_ADC_ConfigChannel(&hadc2, &sConfig) != HAL_OK)
    {
        Error_Handler();
    }
    /** Configure Regular Channel
     */
    sConfig.Channel = ADC_CHANNEL_VOPAMP3_ADC2;
    sConfig.Rank = ADC_REGULAR_RANK_3;
    if (HAL_ADC_ConfigChannel(&hadc2, &sConfig) != HAL_OK)
    {
        Error_Handler();
    }
}

static void MX_CORDIC_Init(void)
{

    hcordic.Instance = CORDIC;
    if (HAL_CORDIC_Init(&hcordic) != HAL_OK)
    {
        Error_Handler();
    }
}

static void MX_FDCAN1_Init(void)
{

    hfdcan1.Instance = FDCAN1;
    hfdcan1.Init.ClockDivider = FDCAN_CLOCK_DIV2;
    hfdcan1.Init.FrameFormat = FDCAN_FRAME_CLASSIC;
    hfdcan1.Init.Mode = FDCAN_MODE_NORMAL;
    hfdcan1.Init.AutoRetransmission = ENABLE;
    hfdcan1.Init.TransmitPause = ENABLE;
    hfdcan1.Init.ProtocolException = DISABLE;
    hfdcan1.Init.NominalPrescaler = 1;
    hfdcan1.Init.NominalSyncJumpWidth = 16;
    hfdcan1.Init.NominalTimeSeg1 = 63;
    hfdcan1.Init.NominalTimeSeg2 = 16;
    hfdcan1.Init.DataPrescaler = 1;
    hfdcan1.Init.DataSyncJumpWidth = 4;
    hfdcan1.Init.DataTimeSeg1 = 5;
    hfdcan1.Init.DataTimeSeg2 = 4;
    hfdcan1.Init.StdFiltersNbr = 1;
    hfdcan1.Init.ExtFiltersNbr = 0;
    hfdcan1.Init.TxFifoQueueMode = FDCAN_TX_FIFO_OPERATION;
    if (HAL_FDCAN_Init(&hfdcan1) != HAL_OK)
    {
        Error_Handler();
    }
}

static void MX_I2C1_Init(void)
{

    hi2c1.Instance = I2C1;
    hi2c1.Init.Timing = 0x00701F6B;
    hi2c1.Init.OwnAddress1 = 0;
    hi2c1.Init.AddressingMode = I2C_ADDRESSINGMODE_7BIT;
    hi2c1.Init.DualAddressMode = I2C_DUALADDRESS_DISABLE;
    hi2c1.Init.OwnAddress2 = 0;
    hi2c1.Init.OwnAddress2Masks = I2C_OA2_NOMASK;
    hi2c1.Init.GeneralCallMode = I2C_GENERALCALL_DISABLE;
    hi2c1.Init.NoStretchMode = I2C_NOSTRETCH_DISABLE;
    if (HAL_I2C_Init(&hi2c1) != HAL_OK)
    {
        Error_Handler();
    }
    /** Configure Analogue filter
     */
    if (HAL_I2CEx_ConfigAnalogFilter(&hi2c1, I2C_ANALOGFILTER_ENABLE) != HAL_OK)
    {
        Error_Handler();
    }
    /** Configure Digital filter
     */
    if (HAL_I2CEx_ConfigDigitalFilter(&hi2c1, 0) != HAL_OK)
    {
        Error_Handler();
    }
    /** I2C Fast mode Plus enable
     */
    __HAL_SYSCFG_FASTMODEPLUS_ENABLE(I2C_FASTMODEPLUS_I2C1);
}

static void MX_OPAMP1_Init(void)
{

    hopamp1.Instance = OPAMP1;
    hopamp1.Init.PowerMode = OPAMP_POWERMODE_NORMALSPEED;
    hopamp1.Init.Mode = OPAMP_PGA_MODE;
    hopamp1.Init.NonInvertingInput = OPAMP_NONINVERTINGINPUT_IO0;
    hopamp1.Init.InternalOutput = ENABLE;
    hopamp1.Init.TimerControlledMuxmode = OPAMP_TIMERCONTROLLEDMUXMODE_DISABLE;
    hopamp1.Init.PgaConnect = OPAMP_PGA_CONNECT_INVERTINGINPUT_IO0_BIAS;
    hopamp1.Init.PgaGain = OPAMP_PGA_GAIN_16_OR_MINUS_15;
    hopamp1.Init.UserTrimming = OPAMP_TRIMMING_FACTORY;
    if (HAL_OPAMP_Init(&hopamp1) != HAL_OK)
    {
        Error_Handler();
    }
}

static void MX_OPAMP2_Init(void)
{

    hopamp2.Instance = OPAMP2;
    hopamp2.Init.PowerMode = OPAMP_POWERMODE_NORMALSPEED;
    hopamp2.Init.Mode = OPAMP_PGA_MODE;
    hopamp2.Init.NonInvertingInput = OPAMP_NONINVERTINGINPUT_IO0;
    hopamp2.Init.InternalOutput = ENABLE;
    hopamp2.Init.TimerControlledMuxmode = OPAMP_TIMERCONTROLLEDMUXMODE_DISABLE;
    hopamp2.Init.PgaConnect = OPAMP_PGA_CONNECT_INVERTINGINPUT_IO0_BIAS;
    hopamp2.Init.PgaGain = OPAMP_PGA_GAIN_16_OR_MINUS_15;
    hopamp2.Init.UserTrimming = OPAMP_TRIMMING_FACTORY;
    if (HAL_OPAMP_Init(&hopamp2) != HAL_OK)
    {
        Error_Handler();
    }
}

static void MX_OPAMP3_Init(void)
{

    hopamp3.Instance = OPAMP3;
    hopamp3.Init.PowerMode = OPAMP_POWERMODE_NORMALSPEED;
    hopamp3.Init.Mode = OPAMP_PGA_MODE;
    hopamp3.Init.NonInvertingInput = OPAMP_NONINVERTINGINPUT_IO0;
    hopamp3.Init.InternalOutput = ENABLE;
    hopamp3.Init.TimerControlledMuxmode = OPAMP_TIMERCONTROLLEDMUXMODE_DISABLE;
    hopamp3.Init.PgaConnect = OPAMP_PGA_CONNECT_INVERTINGINPUT_IO0_BIAS;
    hopamp3.Init.PgaGain = OPAMP_PGA_GAIN_16_OR_MINUS_15;
    hopamp3.Init.UserTrimming = OPAMP_TRIMMING_FACTORY;
    if (HAL_OPAMP_Init(&hopamp3) != HAL_OK)
    {
        Error_Handler();
    }
}

static void MX_TIM1_Init(void)
{

    TIM_ClockConfigTypeDef sClockSourceConfig = {0};
    TIM_MasterConfigTypeDef sMasterConfig = {0};
    TIM_OC_InitTypeDef sConfigOC = {0};
    TIM_BreakDeadTimeConfigTypeDef sBreakDeadTimeConfig = {0};

    /* USER CODE BEGIN TIM1_Init 1 */

    // note : At 160MHz,
    //		htim1.Init.Period = 4999 gives a TIM1 frequency of 32KHz and a PWM (centered-aligned) of 16KHz
    //		htim1.Init.Period = 3999 gives a TIM1 frequency of 40KHz and a PWM (centered-aligned) of 20KHz
    //		htim1.Init.Period = 3635 gives a TIM1 frequency of 44KHz and a PWM (centered-aligned) of 22KHz

    /* USER CODE END TIM1_Init 1 */
    htim1.Instance = TIM1;
    htim1.Init.Prescaler = 0;
    htim1.Init.CounterMode = TIM_COUNTERMODE_CENTERALIGNED1;
    htim1.Init.Period = 1999;
    htim1.Init.ClockDivision = TIM_CLOCKDIVISION_DIV1;
    htim1.Init.RepetitionCounter = 0;
    htim1.Init.AutoReloadPreload = TIM_AUTORELOAD_PRELOAD_DISABLE;
    if (HAL_TIM_Base_Init(&htim1) != HAL_OK)
    {
        Error_Handler();
    }
    sClockSourceConfig.ClockSource = TIM_CLOCKSOURCE_INTERNAL;
    if (HAL_TIM_ConfigClockSource(&htim1, &sClockSourceConfig) != HAL_OK)
    {
        Error_Handler();
    }
    if (HAL_TIM_PWM_Init(&htim1) != HAL_OK)
    {
        Error_Handler();
    }
    sMasterConfig.MasterOutputTrigger = TIM_TRGO_UPDATE;
    sMasterConfig.MasterOutputTrigger2 = TIM_TRGO2_RESET;
    sMasterConfig.MasterSlaveMode = TIM_MASTERSLAVEMODE_DISABLE;
    if (HAL_TIMEx_MasterConfigSynchronization(&htim1, &sMasterConfig) != HAL_OK)
    {
        Error_Handler();
    }
    sConfigOC.OCMode = TIM_OCMODE_PWM1;
    sConfigOC.Pulse = 0;
    sConfigOC.OCPolarity = TIM_OCPOLARITY_HIGH;
    sConfigOC.OCNPolarity = TIM_OCNPOLARITY_HIGH;
    sConfigOC.OCFastMode = TIM_OCFAST_DISABLE;
    sConfigOC.OCIdleState = TIM_OCIDLESTATE_RESET;
    sConfigOC.OCNIdleState = TIM_OCNIDLESTATE_RESET;
    if (HAL_TIM_PWM_ConfigChannel(&htim1, &sConfigOC, TIM_CHANNEL_1) != HAL_OK)
    {
        Error_Handler();
    }
    if (HAL_TIM_PWM_ConfigChannel(&htim1, &sConfigOC, TIM_CHANNEL_2) != HAL_OK)
    {
        Error_Handler();
    }
    if (HAL_TIM_PWM_ConfigChannel(&htim1, &sConfigOC, TIM_CHANNEL_3) != HAL_OK)
    {
        Error_Handler();
    }
    sBreakDeadTimeConfig.OffStateRunMode = TIM_OSSR_DISABLE;
    sBreakDeadTimeConfig.OffStateIDLEMode = TIM_OSSI_DISABLE;
    sBreakDeadTimeConfig.LockLevel = TIM_LOCKLEVEL_OFF;
    sBreakDeadTimeConfig.DeadTime = 128;
    sBreakDeadTimeConfig.BreakState = TIM_BREAK_DISABLE;
    sBreakDeadTimeConfig.BreakPolarity = TIM_BREAKPOLARITY_HIGH;
    sBreakDeadTimeConfig.BreakFilter = 0;
    sBreakDeadTimeConfig.BreakAFMode = TIM_BREAK_AFMODE_INPUT;
    sBreakDeadTimeConfig.Break2State = TIM_BREAK2_DISABLE;
    sBreakDeadTimeConfig.Break2Polarity = TIM_BREAK2POLARITY_HIGH;
    sBreakDeadTimeConfig.Break2Filter = 0;
    sBreakDeadTimeConfig.Break2AFMode = TIM_BREAK_AFMODE_INPUT;
    sBreakDeadTimeConfig.AutomaticOutput = TIM_AUTOMATICOUTPUT_DISABLE;
    if (HAL_TIMEx_ConfigBreakDeadTime(&htim1, &sBreakDeadTimeConfig) != HAL_OK)
    {
        Error_Handler();
    }
    HAL_TIM_MspPostInit(&htim1);
}

static void MX_TIM4_Init(void)
{

    TIM_SlaveConfigTypeDef sSlaveConfig = {0};
    TIM_IC_InitTypeDef sConfigIC = {0};
    TIM_MasterConfigTypeDef sMasterConfig = {0};

    htim4.Instance = TIM4;
    htim4.Init.Prescaler = 2;
    htim4.Init.CounterMode = TIM_COUNTERMODE_UP;
    htim4.Init.Period = 65535;
    htim4.Init.ClockDivision = TIM_CLOCKDIVISION_DIV1;
    htim4.Init.AutoReloadPreload = TIM_AUTORELOAD_PRELOAD_DISABLE;
    if (HAL_TIM_IC_Init(&htim4) != HAL_OK)
    {
        Error_Handler();
    }
    sSlaveConfig.SlaveMode = TIM_SLAVEMODE_RESET;
    sSlaveConfig.InputTrigger = TIM_TS_TI1FP1;
    sSlaveConfig.TriggerPolarity = TIM_INPUTCHANNELPOLARITY_RISING;
    sSlaveConfig.TriggerPrescaler = TIM_ICPSC_DIV1;
    sSlaveConfig.TriggerFilter = 0;
    if (HAL_TIM_SlaveConfigSynchro(&htim4, &sSlaveConfig) != HAL_OK)
    {
        Error_Handler();
    }
    sConfigIC.ICPolarity = TIM_INPUTCHANNELPOLARITY_RISING;
    sConfigIC.ICSelection = TIM_ICSELECTION_DIRECTTI;
    sConfigIC.ICPrescaler = TIM_ICPSC_DIV1;
    sConfigIC.ICFilter = 0;
    if (HAL_TIM_IC_ConfigChannel(&htim4, &sConfigIC, TIM_CHANNEL_1) != HAL_OK)
    {
        Error_Handler();
    }
    sConfigIC.ICPolarity = TIM_INPUTCHANNELPOLARITY_FALLING;
    sConfigIC.ICSelection = TIM_ICSELECTION_INDIRECTTI;
    if (HAL_TIM_IC_ConfigChannel(&htim4, &sConfigIC, TIM_CHANNEL_2) != HAL_OK)
    {
        Error_Handler();
    }
    sMasterConfig.MasterOutputTrigger = TIM_TRGO_RESET;
    sMasterConfig.MasterSlaveMode = TIM_MASTERSLAVEMODE_DISABLE;
    if (HAL_TIMEx_MasterConfigSynchronization(&htim4, &sMasterConfig) != HAL_OK)
    {
        Error_Handler();
    }
}

static void MX_TIM6_Init(void)
{

    TIM_MasterConfigTypeDef sMasterConfig = {0};

    htim6.Instance = TIM6;
    htim6.Init.Prescaler = 159;
    htim6.Init.CounterMode = TIM_COUNTERMODE_UP;
    htim6.Init.Period = 65535;
    htim6.Init.AutoReloadPreload = TIM_AUTORELOAD_PRELOAD_DISABLE;
    if (HAL_TIM_Base_Init(&htim6) != HAL_OK)
    {
        Error_Handler();
    }
    sMasterConfig.MasterOutputTrigger = TIM_TRGO_RESET;
    sMasterConfig.MasterSlaveMode = TIM_MASTERSLAVEMODE_DISABLE;
    if (HAL_TIMEx_MasterConfigSynchronization(&htim6, &sMasterConfig) != HAL_OK)
    {
        Error_Handler();
    }
}

static void MX_USART2_UART_Init(void)
{

    huart2.Instance = USART2;
    huart2.Init.BaudRate = 1000000;
    huart2.Init.WordLength = UART_WORDLENGTH_8B;
    huart2.Init.StopBits = UART_STOPBITS_1;
    huart2.Init.Parity = UART_PARITY_NONE;
    huart2.Init.Mode = UART_MODE_TX_RX;
    huart2.Init.HwFlowCtl = UART_HWCONTROL_NONE;
    huart2.Init.OverSampling = UART_OVERSAMPLING_16;
    huart2.Init.OneBitSampling = UART_ONE_BIT_SAMPLE_DISABLE;
    huart2.Init.ClockPrescaler = UART_PRESCALER_DIV1;
    huart2.AdvancedInit.AdvFeatureInit = UART_ADVFEATURE_NO_INIT;
    if (HAL_UART_Init(&huart2) != HAL_OK)
    {
        Error_Handler();
    }
    if (HAL_UARTEx_SetTxFifoThreshold(&huart2, UART_TXFIFO_THRESHOLD_1_8) != HAL_OK)
    {
        Error_Handler();
    }
    if (HAL_UARTEx_SetRxFifoThreshold(&huart2, UART_RXFIFO_THRESHOLD_1_8) != HAL_OK)
    {
        Error_Handler();
    }
    if (HAL_UARTEx_DisableFifoMode(&huart2) != HAL_OK)
    {
        Error_Handler();
    }
}

static void MX_DMA_Init(void)
{

    /* DMA controller clock enable */
    __HAL_RCC_DMAMUX1_CLK_ENABLE();
    __HAL_RCC_DMA1_CLK_ENABLE();

    /* DMA interrupt init */
    /* DMA1_Channel1_IRQn interrupt configuration */
    HAL_NVIC_SetPriority(DMA1_Channel1_IRQn, 0, 0);
    HAL_NVIC_EnableIRQ(DMA1_Channel1_IRQn);
    /* DMA1_Channel2_IRQn interrupt configuration */
    HAL_NVIC_SetPriority(DMA1_Channel2_IRQn, 0, 0);
    HAL_NVIC_EnableIRQ(DMA1_Channel2_IRQn);
    /* DMA1_Channel3_IRQn interrupt configuration */
    HAL_NVIC_SetPriority(DMA1_Channel3_IRQn, 0, 0);
    HAL_NVIC_EnableIRQ(DMA1_Channel3_IRQn);
    /* DMA1_Channel4_IRQn interrupt configuration */
    HAL_NVIC_SetPriority(DMA1_Channel4_IRQn, 0, 0);
    HAL_NVIC_EnableIRQ(DMA1_Channel4_IRQn);
}

static void MX_GPIO_Init(void)
{
    GPIO_InitTypeDef GPIO_InitStruct = {0};

    /* GPIO Ports Clock Enable */
    __HAL_RCC_GPIOC_CLK_ENABLE();
    __HAL_RCC_GPIOF_CLK_ENABLE();
    __HAL_RCC_GPIOA_CLK_ENABLE();
    __HAL_RCC_GPIOB_CLK_ENABLE();

    /*Configure GPIO pin Output Level */
    HAL_GPIO_WritePin(GPIOC, CAN_TERM_Pin | STATUS_Pin | CAN_SHDN_Pin, GPIO_PIN_RESET);

    /*Configure GPIO pins : CAN_TERM_Pin STATUS_Pin CAN_SHDN_Pin */
    GPIO_InitStruct.Pin = CAN_TERM_Pin | STATUS_Pin | CAN_SHDN_Pin;
    GPIO_InitStruct.Mode = GPIO_MODE_OUTPUT_PP;
    GPIO_InitStruct.Pull = GPIO_NOPULL;
    GPIO_InitStruct.Speed = GPIO_SPEED_FREQ_LOW;
    HAL_GPIO_Init(GPIOC, &GPIO_InitStruct);

    /*Configure GPIO pin : BUTTON_Pin */
    GPIO_InitStruct.Pin = BUTTON_Pin;
    GPIO_InitStruct.Mode = GPIO_MODE_INPUT;
    GPIO_InitStruct.Pull = GPIO_NOPULL;
    HAL_GPIO_Init(BUTTON_GPIO_Port, &GPIO_InitStruct);
}

void Error_Handler(void)
{
    __disable_irq();
    while (1)
    {
    }
}

/************************ (C) COPYRIGHT STMicroelectronics *****END OF FILE****/
